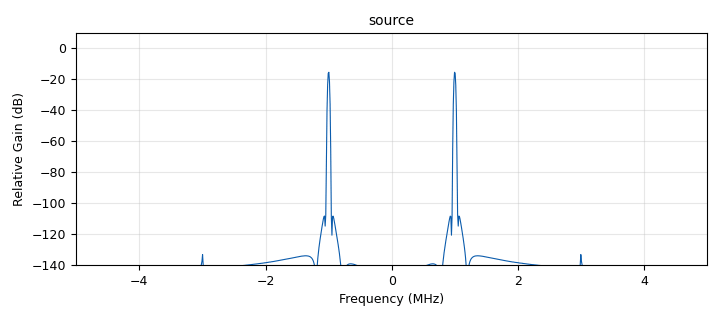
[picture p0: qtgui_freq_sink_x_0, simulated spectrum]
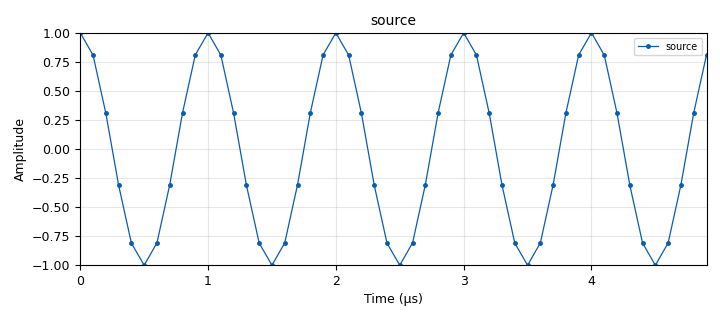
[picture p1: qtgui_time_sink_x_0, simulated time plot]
options:
  parameters:
    generate_options: qt_gui
    id: sampling
    output_language: python
    title: 06_sampling
  states: {}

blocks:
- name: range_kH
  id: variable_qtgui_range
  parameters:
    start: '0'
    step: '1'
    stop: 50e3
    value: '10000'
  states: {}
- name: samp_rate
  id: variable
  parameters:
    value: 1e6
  states: {}
- name: analog_sig_source_x_0
  id: analog_sig_source_x
  parameters:
    amp: '1'
    freq: samp_rate
    offset: '0'
    phase: '0'
    samp_rate: range_kH*1000
    type: float
    waveform: analog.GR_COS_WAVE
  states: {}
- name: blocks_throttle2_0
  id: blocks_throttle2
  parameters:
    samples_per_second: range_kH*1000
    type: float
  states: {}
- name: qtgui_freq_sink_x_0
  id: qtgui_freq_sink_x
  parameters:
    bw: range_kH*1000
    fc: '0'
    fftsize: '1024'
    name: '"source"'
    type: float
  states: {}
- name: qtgui_time_sink_x_0
  id: qtgui_time_sink_x
  parameters:
    label1: source
    marker1: '0'
    name: '"source"'
    size: '50'
    srate: range_kH*1000
    type: float
  states: {}

connections:
- [analog_sig_source_x_0, '0', blocks_throttle2_0, '0']
- [blocks_throttle2_0, '0', qtgui_freq_sink_x_0, '0']
- [blocks_throttle2_0, '0', qtgui_time_sink_x_0, '0']

metadata:
  file_format: 1
  grc_version: 3.10.9.2
